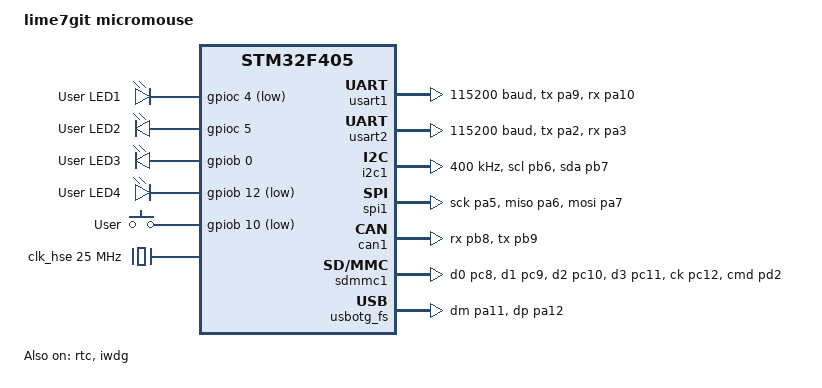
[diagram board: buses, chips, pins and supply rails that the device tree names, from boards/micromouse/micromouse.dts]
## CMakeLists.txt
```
cmake_minimum_required(VERSION 3.20.0)

list(APPEND BOARD_ROOT ${CMAKE_CURRENT_SOURCE_DIR}/..)
list(APPEND DTS_ROOT ${CMAKE_CURRENT_SOURCE_DIR}/..)
find_package(Zephyr REQUIRED)
project(my_zephyr_app)

target_sources(app PRIVATE src/main.cpp)
add_subdirectory(drivers/our_driver)
```

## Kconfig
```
menuconfig LED_SUBSYSTEM
    bool "LED Subsystem"
    default n

if LED_SUBSYSTEM

    choice
        prompt "LED blink sleep time"
        default BLINK_SLEEP_1000MS

    config BLINK_SLEEP_250MS
        bool "250ms (very fast)"

    config BLINK_SLEEP_500MS
        bool "500ms (fast)"

    config BLINK_SLEEP_1000MS
        bool "1s (medium)"

    config BLINK_SLEEP_2000MS
        bool "2s (slow)"
    endchoice

    config BLINK_SLEEP_TIME_MS
        int
        depends on BLINK_SLEEP_250MS || BLINK_SLEEP_500MS || BLINK_SLEEP_1000MS || BLINK_SLEEP_2000MS
        default 250  if BLINK_SLEEP_250MS
        default 500  if BLINK_SLEEP_500MS
        default 1000 if BLINK_SLEEP_1000MS
        default 2000 if BLINK_SLEEP_2000MS
        default 0

    menuconfig ADVANCED_LED_SETTINGS
        bool "Advanced LED settings"
        default n

    if ADVANCED_LED_SETTINGS

        config LED_BRIGHTNESS
            int "LED brightness (0-100)"
            default 100
            range 0 100
            help
                Set the LED brightness level (0-100%)
    
        config LED_FADE_DURATION_MS
            int "LED fade duration (ms)"
            default 500
            range 0 5000
            help
                Set the duration for LED fade in/out effects in milliseconds

        menu "Expert settings"
            visible if ADVANCED_LED_SETTINGS
            config ENABLE_LED_DEBUGGING
                bool "Enable LED debugging"
                default n
                help
                    Enable debug output for LED operations (not recommended for production)

            config CUSTOM_LED_PATTERN
                bool "Custom blink pattern"
                default n
                help
                    Define a custom LED blinking pattern.
        endmenu #Expert settings
        
    endif
endif

config APP_HEARTBEAT_PERIOD_MS
  int "LED heartbeat period (ms)"
  default 500
  range 100 2000

source "Kconfig.zephyr"
rsource "drivers/our_driver/Kconfig"
```

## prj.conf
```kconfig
CONFIG_GPIO=y
CONFIG_LOG=y
CONFIG_LED_SUBSYSTEM=y
CONFIG_BLINK_SLEEP_1000MS=y
CONFIG_OUR_DRIVER=y
CONFIG_SHELL=y
CONFIG_SHELL_CMDS=y
```

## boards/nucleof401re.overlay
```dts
/{
    aliases{
        app-led = &green_led_2;
    };
};
```

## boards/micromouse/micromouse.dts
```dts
/*
 * Copyright (c) 2024 Pavlo Yadvychuk
 *
 * SPDX-License-Identifier: Apache-2.0
 */

/dts-v1/;
#include <st/f4/stm32f405Xg.dtsi>
#include <st/f4/stm32f405rgtx-pinctrl.dtsi>
#include <zephyr/dt-bindings/input/input-event-codes.h>

/ {
	model = "lime7git micromouse";
	compatible = "lime7git,stm32f405-core", "st,stm32f405";

	chosen {
		zephyr,console = &usart1;
		zephyr,shell-uart = &usart1;
		zephyr,sram = &sram0;
		zephyr,flash = &flash0;
		zephyr,dtcm = &ccm0;
	};

	leds {
		compatible = "gpio-leds";

		led: led {
			gpios = <&gpioc 4 GPIO_ACTIVE_LOW>;
			label = "User LED1";
		};

		led1: led_1 {
			gpios= <&gpioc 5 GPIO_ACTIVE_HIGH>;
			label = "User LED2";
		};

		led2: led_2 {
			gpios= <&gpiob 0 GPIO_ACTIVE_HIGH>;
			label = "User LED3";
		};

		led3: led_3 {
			gpios= <&gpiob 12 GPIO_ACTIVE_LOW>;
			label = "User LED4";
		};
	};

	gpio_keys {
		compatible = "gpio-keys";

		user_button: button {
			label = "User";
			gpios = <&gpiob 10 (GPIO_PULL_UP | GPIO_ACTIVE_LOW)>;
			zephyr,code = <INPUT_KEY_0>;
		};
	};

	aliases {
		led0 = &led;
		led1 = &led1;
		led2 = &led2;
		led3 = &led3;
		sw0 = &user_button;
		watchdog0 = &iwdg;
		sdhc0 = &sdmmc1;
	};
};

&clk_lsi {
	status = "okay";
};

&clk_hse {
	clock-frequency = <DT_FREQ_M(25)>;
	status = "okay";
};

&pll {
	div-m = <25>;
	mul-n = <336>;
	div-p = <2>;
	div-q = <4>;
	clocks = <&clk_hse>;
	status = "okay";
};

&rcc {
	clocks = <&pll>;
	clock-frequency = <DT_FREQ_M(168)>;
	ahb-prescaler = <1>;
	apb1-prescaler = <4>;
	apb2-prescaler = <2>;
};

&usart1 {
	pinctrl-0 = <&usart1_tx_pa9 &usart1_rx_pa10>;
	pinctrl-names = "default";
	current-speed = <115200>;
	status = "okay";
};

&usart2 {
	pinctrl-0 = <&usart2_tx_pa2 &usart2_rx_pa3>;
	pinctrl-names = "default";
	current-speed = <115200>;
	status = "okay";
};

&i2c1 {
	pinctrl-0 = <&i2c1_scl_pb6 &i2c1_sda_pb7>;
	pinctrl-names = "default";
	status = "okay";
	clock-frequency = <I2C_BITRATE_FAST>;
};

&spi1 {
	pinctrl-0 = <&spi1_sck_pa5 &spi1_miso_pa6 &spi1_mosi_pa7>;
	pinctrl-names = "default";
	status = "okay";
};

&can1 {
	pinctrl-0 = <&can1_rx_pb8 &can1_tx_pb9>;
	pinctrl-names = "default";
	status = "okay";
};

&sdmmc1 {
	status = "okay";
	pinctrl-0 = <&sdio_d0_pc8 &sdio_d1_pc9
		     &sdio_d2_pc10 &sdio_d3_pc11
		     &sdio_ck_pc12 &sdio_cmd_pd2>;
	pinctrl-names = "default";
	cd-gpios = <&gpioa 8 (GPIO_ACTIVE_HIGH | GPIO_PULL_UP)>;
	disk-name = "SD";
};

&rtc {
	clocks = <&rcc STM32_CLOCK(APB1, 28)>,
		 <&rcc STM32_SRC_LSI RTC_SEL(2)>;
	status = "okay";
};

zephyr_udc0: &usbotg_fs {
	pinctrl-0 = <&usb_otg_fs_dm_pa11 &usb_otg_fs_dp_pa12>;
	pinctrl-names = "default";
	status = "okay";
};

&iwdg {
	status = "okay";
};

&backup_sram {
	status = "okay";
};
```

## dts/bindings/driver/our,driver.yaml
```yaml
description: simple led driver
compatible: our,driver
include: base.yaml
```

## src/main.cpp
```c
#include <zephyr/drivers/gpio.h>
#include <zephyr/kernel.h>
#include <zephyr/logging/log.h>
#include <zephyr/drivers/sensor.h>
#include "../drivers/our_driver/our_driver.h"

#define SLEEP_TIME_MS 250

/* The devicetree node identifier for the "led0" alias. */
#define LED_NODE DT_ALIAS(led0)
#define LED_NODE1 DT_ALIAS(led1)
//#define LED_NODE2 DT_ALIAS(led2)
//#define LED_NODE3 DT_ALIAS(led3)

static const struct device * driver = DEVICE_DT_GET(DT_NODELABEL(our_driver0));

static const struct gpio_dt_spec led = GPIO_DT_SPEC_GET(LED_NODE, gpios);
static const struct gpio_dt_spec led1 = GPIO_DT_SPEC_GET(LED_NODE1, gpios);
//static const struct gpio_dt_spec led2 = GPIO_DT_SPEC_GET(LED_NODE2, gpios);
//static const struct gpio_dt_spec led3 = GPIO_DT_SPEC_GET(LED_NODE3, gpios);

LOG_MODULE_REGISTER(main, LOG_LEVEL_INF);

int main(void)
{
    bool led_state = true;
    uint8_t cnt = 0;

    if (!gpio_is_ready_dt(&led)) return 0;
    if (!gpio_is_ready_dt(&led1)) return 0;
    //if (!gpio_is_ready_dt(&led2)) return 0;
    //if (!gpio_is_ready_dt(&led3)) return 0;

    if (gpio_pin_configure_dt(&led, GPIO_OUTPUT_ACTIVE) < 0) return 0;
    if (gpio_pin_configure_dt(&led1, GPIO_OUTPUT_ACTIVE) < 0) return 0;
    //if (gpio_pin_configure_dt(&led2, GPIO_OUTPUT_ACTIVE) < 0) return 0;
    //if (gpio_pin_configure_dt(&led3, GPIO_OUTPUT_ACTIVE) < 0) return 0;

    while (1) {
        //if (gpio_pin_toggle_dt(&led) < 0) return 0;
        if (gpio_pin_toggle_dt(&led1) < 0) return 0;
        //if (gpio_pin_toggle_dt(&led2) < 0) return 0;
        //if (gpio_pin_toggle_dt(&led3) < 0) return 0;

        // if(led_state) sensor_channel_get(driver, SENSOR_CHAN_AMBIENT_TEMP, NULL);
        // else sensor_sample_fetch(driver);

        // led_state = !led_state;
        // cnt++;

        // if(cnt == 5)
        // {
        //     our_driver_set_param(driver, 2);
        // }
        // if(cnt >= 10)
        // {
        //     our_driver_set_param(driver, 0);
        //     cnt = 0;
        // }

        // LOG_INF("LED state: %s", led_state ? "ON" : "OFF");
        k_msleep(CONFIG_APP_HEARTBEAT_PERIOD_MS);
    }
    return 0;
}
```
